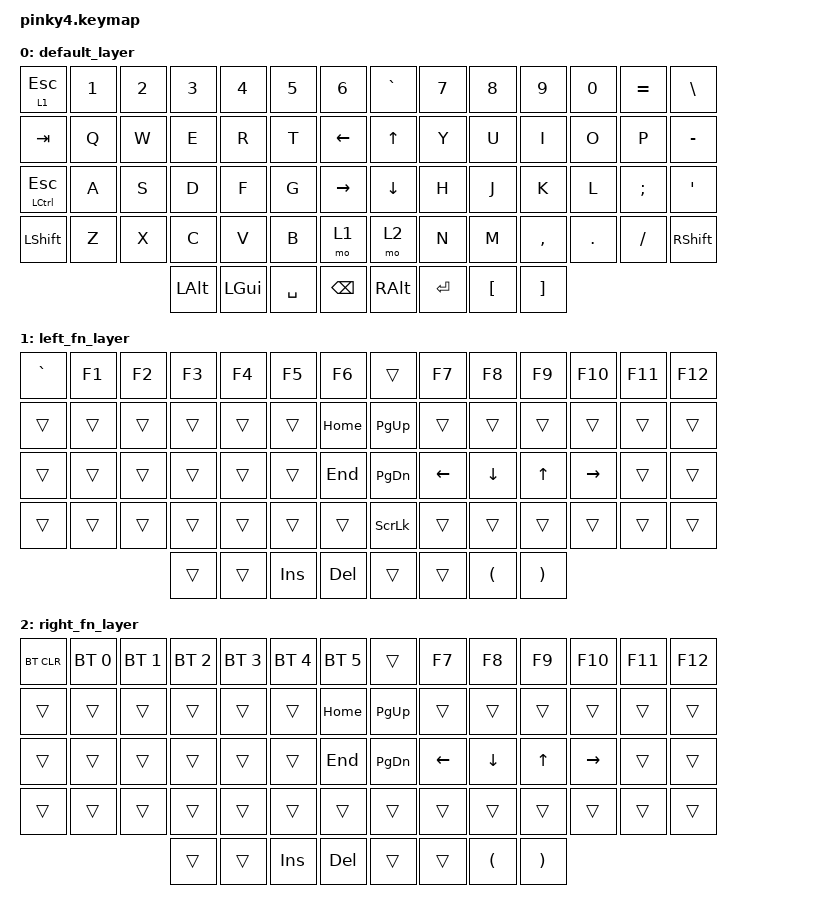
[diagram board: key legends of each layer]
/*
 * Copyright (c) 2022 Shawn Rutledge
 *
 * SPDX-License-Identifier: MIT
 */

#include <behaviors.dtsi>
#include <dt-bindings/zmk/keys.h>
#include <dt-bindings/zmk/bt.h>


/ {
    keymap {
        compatible = "zmk,keymap";

        default_layer {
// ----------------------------------------------------------------------------------------------------
// |ESC/LFN|  1  |  2  |  3   |  4   |  5   |  6   |   |  `   |  7  |  8   |  9  |  0  |   =  |   \   |
// |  TAB  |  Q  |  W  |  E   |  R   |  T   | LEFT |   |  UP  |  Y  |  U   |  I  |  O  |   P  |   -   |
// |CTL/ESC|  A  |  S  |  D   |  F   |  G   | RIGHT|   | DOWN |  H  |  J   |  K  |  L  |   ;  |   '   |
// | SHIFT |  Z  |  X  |  C   |  V   |  B   |  LFN |   |  RFN |  N  |  M   |  ,  |  .  |   /  | SHIFT |
//                     | ALT  | GUI  | SPC  | BKSPC|   | COMP |ENTER|  [   |  ]  |
            bindings = <
&lt 1 ESC     &kp N1 &kp N2   &kp N3   &kp N4  &kp N5   &kp N6     &kp GRAVE &kp N7 &kp N8 &kp N9    &kp N0   &kp EQUAL &kp BSLH
&kp TAB       &kp Q  &kp W    &kp E    &kp R   &kp T    &kp LEFT   &kp UP    &kp Y  &kp U  &kp I     &kp O    &kp P    &kp MINUS
&mt LCTRL ESC &kp A  &kp S    &kp D    &kp F   &kp G    &kp RIGHT  &kp DOWN  &kp H  &kp J  &kp K     &kp L    &kp SEMI &kp SQT
&kp LSHFT     &kp Z  &kp X    &kp C    &kp V   &kp B    &mo 1      &mo 2     &kp N  &kp M  &kp COMMA &kp DOT  &kp FSLH &kp RSHFT
                              &kp LALT &kp LGUI &kp SPACE &kp BSPC &kp RALT  &kp ENTER &kp LBKT &kp RBKT
            >;
        };

        left_fn_layer {
// TODO should have mouse keys whenever that's supported
// ---------------------------------------------------------------------------------------------------
// |  `  |  F1 |  F2 |  F3  |  F4  |  F5  | F6  |   |  `  |  F7  |  F8   |  F9  |  F10 |  F11 |  F12 |
// |     | mup |     |      |      |      | HOME|   | PGUP|      |       |      |      |      |      |
// | mlt | mdn | mrt |      |      |      | END |   | PGDN| LEFT | DOWN  | UP   | RIGHT|      |      |
// | lmb | mmb | rmb |      |      |      |     |   |     |      |       |      |      |      |      |
//                   |      |      | INS  | DEL |   |     |      |  (    |  )   |
            bindings = <
&kp GRAVE &kp F1    &kp F2    &kp F3   &kp F4    &kp F5    &kp F6     &trans    &kp F7   &kp F8     &kp F9    &kp F10   &kp F11 &kp F12
&trans    &trans    &trans    &trans   &trans    &trans    &kp HOME   &kp PG_UP &trans    &trans    &trans    &trans    &trans  &trans
&trans    &trans    &trans    &trans   &trans    &trans    &kp END    &kp PG_DN &kp LEFT  &kp DOWN  &kp UP    &kp RIGHT &trans  &trans
&trans    &trans    &trans    &trans   &trans    &trans    &trans     &kp SLCK  &trans    &trans   &trans     &trans    &trans  &trans
                              &trans   &trans    &kp INS   &kp DEL    &trans    &trans    &kp LPAR &kp RPAR
            >;
        };

        right_fn_layer {
// ------------------------------------------------------------------------------------------------------------
// |BTCLR| BT1  | BT2  |  BT3  |  BT4  |  BT5 | BT6  |   | F6   |  F7  |  F8   |  F9  |  F10  |  F11  |  F12  |
// |     |      |      |       |       |      |      |   |      |      |       |      |       |       |       |
// |     |      |      |       |       |      |      |   |      |      |       |      |       |       |       |
// |     |      |      |       |       |      |      |   |      |      |       |      |       |       |       |
//              |      |       |       |      |      |   |      |      |       |      |
            bindings = <
&bt BT_CLR &bt BT_SEL 0 &bt BT_SEL 1 &bt BT_SEL 2 &bt BT_SEL 3 &bt BT_SEL 4 &bt BT_SEL 5  &trans &kp F7 &kp F8 &kp F9 &kp F10 &kp F11 &kp F12
&trans    &trans    &trans    &trans   &trans    &trans    &kp HOME   &kp PG_UP &trans    &trans    &trans    &trans    &trans  &trans
&trans    &trans    &trans    &trans   &trans    &trans    &kp END    &kp PG_DN &kp LEFT  &kp DOWN  &kp UP    &kp RIGHT &trans  &trans
&trans    &trans    &trans    &trans   &trans    &trans    &trans     &trans    &trans    &trans   &trans     &trans    &trans  &trans
                              &trans   &trans    &kp INS   &kp DEL    &trans    &trans    &kp LPAR &kp RPAR
            >;
        };
    };
};
